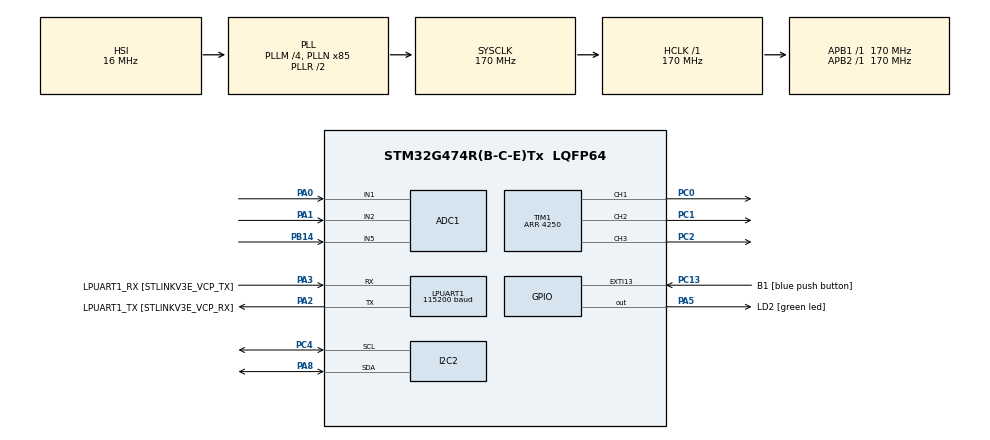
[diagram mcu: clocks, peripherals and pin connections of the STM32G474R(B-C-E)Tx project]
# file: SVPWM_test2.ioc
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ADC1.EnableInjectedConversion=ENABLE
ADC1.EnableRegularConversion=DISABLE
ADC1.ExternalTrigInjecConv=ADC_EXTERNALTRIGINJEC_T1_TRGO2
ADC1.InjNumberOfConversion=3
ADC1.InjectedChannel-10\#ChannelInjectedConversion=ADC_CHANNEL_2
ADC1.InjectedChannel-11\#ChannelInjectedConversion=ADC_CHANNEL_5
ADC1.InjectedChannel-8\#ChannelInjectedConversion=ADC_CHANNEL_1
ADC1.InjectedOffsetNumber-10\#ChannelInjectedConversion=ADC_OFFSET_NONE
ADC1.InjectedOffsetNumber-11\#ChannelInjectedConversion=ADC_OFFSET_NONE
ADC1.InjectedOffsetNumber-8\#ChannelInjectedConversion=ADC_OFFSET_NONE
ADC1.InjectedRank-10\#ChannelInjectedConversion=2
ADC1.InjectedRank-11\#ChannelInjectedConversion=3
ADC1.InjectedRank-8\#ChannelInjectedConversion=1
ADC1.InjectedSamplingTime-10\#ChannelInjectedConversion=ADC_SAMPLETIME_12CYCLES_5
ADC1.InjectedSamplingTime-11\#ChannelInjectedConversion=ADC_SAMPLETIME_12CYCLES_5
ADC1.InjectedSamplingTime-8\#ChannelInjectedConversion=ADC_SAMPLETIME_12CYCLES_5
ADC1.Rank2_Channel=ADC_CHANNEL_2
ADC1.Rank3_Channel=ADC_CHANNEL_5
ADC1.master=1
I2C2.Timing=0x30A0A7FB
LPUART1.BaudRate=115200
LPUART1.WordLength=UART_WORDLENGTH_8B
Mcu.Family=STM32G4
Mcu.Name=STM32G474R(B-C-E)Tx
Mcu.Package=LQFP64
NVIC.ADC1_2_IRQn=true\:0\:0\:false\:false\:true\:true\:true\:true
NVIC.EXTI15_10_IRQn=true\:0\:0\:false\:false\:true\:true\:true\:true
NVIC.PriorityGroup=NVIC_PRIORITYGROUP_4
PA0.Mode=IN1-Single-Ended
PA0.Signal=ADC1_IN1
PA1.Mode=IN2-Single-Ended
PA1.Signal=ADC1_IN2
PA13.GPIO_Label=T_SWDIO
PA13.Mode=Serial_Wire
PA13.Signal=SYS_JTMS-SWDIO
PA14.GPIO_Label=T_SWCLK
PA14.Mode=Serial_Wire
PA14.Signal=SYS_JTCK-SWCLK
PA2.GPIO_Label=LPUART1_TX [STLINKV3E_VCP_RX]
PA2.Mode=Asynchronous
PA2.Signal=LPUART1_TX
PA3.GPIO_Label=LPUART1_RX [STLINKV3E_VCP_TX]
PA3.Mode=Asynchronous
PA3.Signal=LPUART1_RX
PA5.GPIO_Label=LD2 [green led]
PA5.Signal=GPIO_Output
PA8.Mode=I2C
PA8.Signal=I2C2_SDA
PB14.Mode=IN5-Single-Ended
PB14.Signal=ADC1_IN5
PB3.GPIO_Label=T_SWO
PB3.Signal=SYS_JTDO-SWO
PC0.Signal=S_TIM1_CH1
PC1.Signal=S_TIM1_CH2
PC13.GPIO_Label=B1 [blue push button]
PC13.Signal=GPXTI13
PC14-OSC32_IN.Mode=LSE-External-Oscillator
PC14-OSC32_IN.Signal=RCC_OSC32_IN
PC15-OSC32_OUT.Mode=LSE-External-Oscillator
PC15-OSC32_OUT.Signal=RCC_OSC32_OUT
PC2.Signal=S_TIM1_CH3
PC4.Mode=I2C
PC4.Signal=I2C2_SCL
PF0-OSC_IN.Mode=HSE-External-Oscillator
PF0-OSC_IN.Signal=RCC_OSC_IN
PF1-OSC_OUT.Mode=HSE-External-Oscillator
PF1-OSC_OUT.Signal=RCC_OSC_OUT
ProjectManager.HeapSize=0x200
ProjectManager.StackSize=0x400
ProjectManager.TargetToolchain=STM32CubeIDE
RCC.ADC12Freq_Value=170000000
RCC.ADC345Freq_Value=170000000
RCC.AHBFreq_Value=170000000
RCC.APB1Freq_Value=170000000
RCC.APB1TimFreq_Value=170000000
RCC.APB2Freq_Value=170000000
RCC.APB2TimFreq_Value=170000000
RCC.CortexFreq_Value=170000000
RCC.EXTERNAL_CLOCK_VALUE=12288000
RCC.HCLKFreq_Value=170000000
RCC.HSE_VALUE=24000000
RCC.HSI48_VALUE=48000000
RCC.HSI_VALUE=16000000
RCC.PLLM=RCC_PLLM_DIV4
RCC.PLLN=85
RCC.RTCClockSelection=RCC_RTCCLKSOURCE_LSE
RCC.SYSCLKFreq_VALUE=170000000
RCC.SYSCLKSource=RCC_SYSCLKSOURCE_PLLCLK
RCC.USBFreq_Value=170000000
RCC.VCOOutputFreq_Value=340000000
SH.S_TIM1_CH1.0=TIM1_CH1,PWM Generation1 CH1
SH.S_TIM1_CH2.0=TIM1_CH2,PWM Generation2 CH2
SH.S_TIM1_CH3.0=TIM1_CH3,PWM Generation3 CH3
TIM1.Channel-PWM\ Generation1\ CH1=TIM_CHANNEL_1
TIM1.Channel-PWM\ Generation2\ CH2=TIM_CHANNEL_2
TIM1.Channel-PWM\ Generation3\ CH3=TIM_CHANNEL_3
TIM1.CounterMode=TIM_COUNTERMODE_CENTERALIGNED1
TIM1.OCMode_PWM-PWM\ Generation1\ CH1=TIM_OCMODE_PWM2
TIM1.OCMode_PWM-PWM\ Generation2\ CH2=TIM_OCMODE_PWM2
TIM1.OCMode_PWM-PWM\ Generation3\ CH3=TIM_OCMODE_PWM2
TIM1.PeriodNoDither=4250
TIM1.RepetitionCounter=1
TIM1.TIM_MasterOutputTrigger=TIM_TRGO_RESET
TIM1.TIM_MasterOutputTrigger2=TIM_TRGO2_UPDATE
VP_SYS_VS_DBSignals.Mode=DisableDeadBatterySignals
VP_TIM1_VS_ClockSourceINT.Mode=Internal
board=NUCLEO-G474RE

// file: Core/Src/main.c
/* USER CODE BEGIN Header */
/**
  ******************************************************************************
  * @file           : main.c
  * @brief          : Day15 - ADC同期サンプリング検証
  *                   DRV8311H 3相電流センシング（タイミング確認）
  ******************************************************************************
  */
/* USER CODE END Header */
#include "main.h"

/* USER CODE BEGIN Includes */
#include <math.h>
#include <stdio.h>
/* USER CODE END Includes */

/* USER CODE BEGIN PD */
#define ADC_REF_V      3.3f
#define ADC_RESOLUTION 4095.0f
#define CSA_GAIN_VA    1.0f     // DRV8311H GAIN Hi-Z = 1 V/A
#define PWM_PERIOD     4250.0f  // ARR値 (20kHz Center Aligned)

// -----------------------------------------------------------------------
// モータ駆動モード切替
// コメントアウト → ADC タイミング検証のみ（モータ未接続で OK）
// コメントを外す → オープンループ SVPWM 駆動（モータ接続必須）
// -----------------------------------------------------------------------
// #define ENABLE_MOTOR_DRIVE

#ifdef ENABLE_MOTOR_DRIVE
#define OPEN_LOOP_VOLTAGE 0.3f // オープンループ出力電圧振幅 [0.0~1.0]
                               // ※ FOC の Vq ではなく正弦波指令の振幅
#define ANGLE_STEP     0.02f   // 1ループあたりの角度増分 [rad]
#define LOOP_DELAY_MS  2       // ループ周期 [ms]
#else
#define LOOP_DELAY_MS  100     // タイミング検証モードの表示間隔 [ms]
#endif
/* USER CODE END PD */

ADC_HandleTypeDef hadc1;

I2C_HandleTypeDef hi2c2;

UART_HandleTypeDef hlpuart1;

TIM_HandleTypeDef htim1;

/* USER CODE BEGIN PV */
volatile float g_Iu = 0.0f, g_Iv = 0.0f, g_Iw = 0.0f;
volatile uint32_t g_debug_cnt = 0;

float offset_u = 2048.0f;
float offset_v = 2048.0f;
float offset_w = 2048.0f;

#ifdef ENABLE_MOTOR_DRIVE
float g_angle = 0.0f;
#endif
/* USER CODE END PV */

void SystemClock_Config(void);
static void MX_GPIO_Init(void);
static void MX_LPUART1_UART_Init(void);
static void MX_TIM1_Init(void);
static void MX_ADC1_Init(void);
static void MX_I2C2_Init(void);

/* USER CODE BEGIN 0 */
int _write(int file, char *ptr, int len) {
    HAL_UART_Transmit(&hlpuart1, (uint8_t *)ptr, len, 100);
    return len;
}
/* USER CODE END 0 */

int main(void)
{

  HAL_Init();

  SystemClock_Config();

  MX_GPIO_Init();
  MX_LPUART1_UART_Init();
  MX_TIM1_Init();
  MX_ADC1_Init();
  MX_I2C2_Init();

  /* USER CODE BEGIN 2 */
  printf("=== Day15: ADC Sync Sampling Verification ===\r\n");

  // PWM 50%固定で起動 (Mode2: CCR=ARR/2 で50%)
  TIM1->CCR1 = (uint32_t)(PWM_PERIOD * 0.5f);
  TIM1->CCR2 = (uint32_t)(PWM_PERIOD * 0.5f);
  TIM1->CCR3 = (uint32_t)(PWM_PERIOD * 0.5f);

  HAL_TIM_PWM_Start(&htim1, TIM_CHANNEL_1);
  HAL_TIM_PWM_Start(&htim1, TIM_CHANNEL_2);
  HAL_TIM_PWM_Start(&htim1, TIM_CHANNEL_3);

  // ADCキャリブレーション
  HAL_ADCEx_Calibration_Start(&hadc1, ADC_SINGLE_ENDED);

  // ゼロ電流オフセット計測 (1000サンプル平均)
  printf("Calibrating current offsets...\r\n");
  HAL_ADCEx_InjectedStart(&hadc1);
  long sum_u = 0, sum_v = 0, sum_w = 0;
  for (int i = 0; i < 1000; i++) {
      HAL_ADCEx_InjectedPollForConversion(&hadc1, 10);
      sum_u += HAL_ADCEx_InjectedGetValue(&hadc1, ADC_INJECTED_RANK_1);
      sum_v += HAL_ADCEx_InjectedGetValue(&hadc1, ADC_INJECTED_RANK_2);
      sum_w += HAL_ADCEx_InjectedGetValue(&hadc1, ADC_INJECTED_RANK_3);
  }
  HAL_ADCEx_InjectedStop(&hadc1);
  offset_u = (float)sum_u / 1000.0f;
  offset_v = (float)sum_v / 1000.0f;
  offset_w = (float)sum_w / 1000.0f;
  printf("Offsets: U=%.1f V=%.1f W=%.1f\r\n", offset_u, offset_v, offset_w);

  // 割り込みモードで ADC 開始 (TIM1 TRGO2 自動トリガ)
  HAL_ADCEx_InjectedStart_IT(&hadc1);
  printf("ADC started. Monitoring...\r\n");
  /* USER CODE END 2 */

  /* Infinite loop */
  /* USER CODE BEGIN WHILE */
  while (1)
  {
#ifdef ENABLE_MOTOR_DRIVE
      // --- オープンループ SVPWM 駆動 ---
      // Va/Vb/Vc を正弦波で生成し、common-mode injection（SVPWM 零相補正）を適用
      float Va = OPEN_LOOP_VOLTAGE * sinf(g_angle);
      float Vb = OPEN_LOOP_VOLTAGE * sinf(g_angle - 2.0f * (float)M_PI / 3.0f);
      float Vc = OPEN_LOOP_VOLTAGE * sinf(g_angle + 2.0f * (float)M_PI / 3.0f);

      float v_max = fmaxf(fmaxf(Va, Vb), Vc);
      float v_min = fminf(fminf(Va, Vb), Vc);
      float cm = (v_max + v_min) * 0.5f;   // common-mode 成分

      // PWM Mode 2: duty_HIGH = (ARR - CCR) / ARR なので Va 正 → CCR 小（反転）
      // CCR = (1 - (V - cm)) / 2 * ARR
      TIM1->CCR1 = (uint32_t)((1.0f - Va + cm) * 0.5f * PWM_PERIOD);
      TIM1->CCR2 = (uint32_t)((1.0f - Vb + cm) * 0.5f * PWM_PERIOD);
      TIM1->CCR3 = (uint32_t)((1.0f - Vc + cm) * 0.5f * PWM_PERIOD);

      g_angle += ANGLE_STEP;
      if (g_angle >= 2.0f * (float)M_PI) g_angle -= 2.0f * (float)M_PI;

      // CSV 出力（カウンタ付き4列）: count,Iu,Iv,Iw
      static uint32_t s_cnt = 0;
      printf("%lu,%.4f,%.4f,%.4f\r\n", s_cnt++, g_Iu, g_Iv, g_Iw);
#else
      // --- ADC タイミング検証モード（モータ未接続） ---
      printf("Iu=%6.3f Iv=%6.3f Iw=%6.3f CNT=%lu\r\n",
             g_Iu, g_Iv, g_Iw, g_debug_cnt);
#endif
      HAL_Delay(LOOP_DELAY_MS);
  }
  /* USER CODE END WHILE */

}

void SystemClock_Config(void)
{
  RCC_OscInitTypeDef RCC_OscInitStruct = {0};
  RCC_ClkInitTypeDef RCC_ClkInitStruct = {0};

  HAL_PWREx_ControlVoltageScaling(PWR_REGULATOR_VOLTAGE_SCALE1_BOOST);

  RCC_OscInitStruct.OscillatorType = RCC_OSCILLATORTYPE_HSI;
  RCC_OscInitStruct.HSIState = RCC_HSI_ON;
  RCC_OscInitStruct.HSICalibrationValue = RCC_HSICALIBRATION_DEFAULT;
  RCC_OscInitStruct.PLL.PLLState = RCC_PLL_ON;
  RCC_OscInitStruct.PLL.PLLSource = RCC_PLLSOURCE_HSI;
  RCC_OscInitStruct.PLL.PLLM = RCC_PLLM_DIV4;
  RCC_OscInitStruct.PLL.PLLN = 85;
  RCC_OscInitStruct.PLL.PLLP = RCC_PLLP_DIV2;
  RCC_OscInitStruct.PLL.PLLQ = RCC_PLLQ_DIV2;
  RCC_OscInitStruct.PLL.PLLR = RCC_PLLR_DIV2;
  if (HAL_RCC_OscConfig(&RCC_OscInitStruct) != HAL_OK)
  {
    Error_Handler();
  }

  RCC_ClkInitStruct.ClockType = RCC_CLOCKTYPE_HCLK|RCC_CLOCKTYPE_SYSCLK
                              |RCC_CLOCKTYPE_PCLK1|RCC_CLOCKTYPE_PCLK2;
  RCC_ClkInitStruct.SYSCLKSource = RCC_SYSCLKSOURCE_PLLCLK;
  RCC_ClkInitStruct.AHBCLKDivider = RCC_SYSCLK_DIV1;
  RCC_ClkInitStruct.APB1CLKDivider = RCC_HCLK_DIV1;
  RCC_ClkInitStruct.APB2CLKDivider = RCC_HCLK_DIV1;

  if (HAL_RCC_ClockConfig(&RCC_ClkInitStruct, FLASH_LATENCY_4) != HAL_OK)
  {
    Error_Handler();
  }
}

static void MX_ADC1_Init(void)
{
  ADC_MultiModeTypeDef multimode = {0};
  ADC_InjectionConfTypeDef sConfigInjected = {0};

  hadc1.Instance = ADC1;
  hadc1.Init.ClockPrescaler = ADC_CLOCK_SYNC_PCLK_DIV4;
  hadc1.Init.Resolution = ADC_RESOLUTION_12B;
  hadc1.Init.DataAlign = ADC_DATAALIGN_RIGHT;
  hadc1.Init.GainCompensation = 0;
  hadc1.Init.ScanConvMode = ADC_SCAN_ENABLE;
  hadc1.Init.EOCSelection = ADC_EOC_SINGLE_CONV;
  hadc1.Init.LowPowerAutoWait = DISABLE;
  hadc1.Init.ContinuousConvMode = DISABLE;
  hadc1.Init.NbrOfConversion = 1;
  hadc1.Init.DiscontinuousConvMode = DISABLE;
  hadc1.Init.DMAContinuousRequests = DISABLE;
  hadc1.Init.Overrun = ADC_OVR_DATA_PRESERVED;
  hadc1.Init.OversamplingMode = DISABLE;
  if (HAL_ADC_Init(&hadc1) != HAL_OK)
  {
    Error_Handler();
  }

  multimode.Mode = ADC_MODE_INDEPENDENT;
  if (HAL_ADCEx_MultiModeConfigChannel(&hadc1, &multimode) != HAL_OK)
  {
    Error_Handler();
  }

  // Rank1: CH1 (PA0 / SO_A)
  sConfigInjected.InjectedChannel = ADC_CHANNEL_1;
  sConfigInjected.InjectedRank = ADC_INJECTED_RANK_1;
  sConfigInjected.InjectedSamplingTime = ADC_SAMPLETIME_12CYCLES_5;
  sConfigInjected.InjectedSingleDiff = ADC_SINGLE_ENDED;
  sConfigInjected.InjectedOffsetNumber = ADC_OFFSET_NONE;
  sConfigInjected.InjectedOffset = 0;
  sConfigInjected.InjectedNbrOfConversion = 3;
  sConfigInjected.InjectedDiscontinuousConvMode = DISABLE;
  sConfigInjected.AutoInjectedConv = DISABLE;
  sConfigInjected.QueueInjectedContext = DISABLE;
  sConfigInjected.ExternalTrigInjecConv = ADC_EXTERNALTRIGINJEC_T1_TRGO2;
  sConfigInjected.ExternalTrigInjecConvEdge = ADC_EXTERNALTRIGINJECCONV_EDGE_RISING;
  sConfigInjected.InjecOversamplingMode = DISABLE;
  if (HAL_ADCEx_InjectedConfigChannel(&hadc1, &sConfigInjected) != HAL_OK)
  {
    Error_Handler();
  }

  // Rank2: CH2 (PA1 / SO_B)
  sConfigInjected.InjectedChannel = ADC_CHANNEL_2;
  sConfigInjected.InjectedRank = ADC_INJECTED_RANK_2;
  if (HAL_ADCEx_InjectedConfigChannel(&hadc1, &sConfigInjected) != HAL_OK)
  {
    Error_Handler();
  }

  // Rank3: CH5 (PB14 / SO_C)
  sConfigInjected.InjectedChannel = ADC_CHANNEL_5;
  sConfigInjected.InjectedRank = ADC_INJECTED_RANK_3;
  if (HAL_ADCEx_InjectedConfigChannel(&hadc1, &sConfigInjected) != HAL_OK)
  {
    Error_Handler();
  }
}

static void MX_I2C2_Init(void)
{
  hi2c2.Instance = I2C2;
  hi2c2.Init.Timing = 0x30A0A7FB;
  hi2c2.Init.OwnAddress1 = 0;
  hi2c2.Init.AddressingMode = I2C_ADDRESSINGMODE_7BIT;
  hi2c2.Init.DualAddressMode = I2C_DUALADDRESS_DISABLE;
  hi2c2.Init.OwnAddress2 = 0;
  hi2c2.Init.OwnAddress2Masks = I2C_OA2_NOMASK;
  hi2c2.Init.GeneralCallMode = I2C_GENERALCALL_DISABLE;
  hi2c2.Init.NoStretchMode = I2C_NOSTRETCH_DISABLE;
  if (HAL_I2C_Init(&hi2c2) != HAL_OK)
  {
    Error_Handler();
  }
  if (HAL_I2CEx_ConfigAnalogFilter(&hi2c2, I2C_ANALOGFILTER_ENABLE) != HAL_OK)
  {
    Error_Handler();
  }
  if (HAL_I2CEx_ConfigDigitalFilter(&hi2c2, 0) != HAL_OK)
  {
    Error_Handler();
  }
}

static void MX_LPUART1_UART_Init(void)
{
  hlpuart1.Instance = LPUART1;
  hlpuart1.Init.BaudRate = 115200;
  hlpuart1.Init.WordLength = UART_WORDLENGTH_8B;
  hlpuart1.Init.StopBits = UART_STOPBITS_1;
  hlpuart1.Init.Parity = UART_PARITY_NONE;
  hlpuart1.Init.Mode = UART_MODE_TX_RX;
  hlpuart1.Init.HwFlowCtl = UART_HWCONTROL_NONE;
  hlpuart1.Init.OneBitSampling = UART_ONE_BIT_SAMPLE_DISABLE;
  hlpuart1.Init.ClockPrescaler = UART_PRESCALER_DIV1;
  hlpuart1.AdvancedInit.AdvFeatureInit = UART_ADVFEATURE_NO_INIT;
  if (HAL_UART_Init(&hlpuart1) != HAL_OK)
  {
    Error_Handler();
  }
  if (HAL_UARTEx_SetTxFifoThreshold(&hlpuart1, UART_TXFIFO_THRESHOLD_1_8) != HAL_OK)
  {
    Error_Handler();
  }
  if (HAL_UARTEx_SetRxFifoThreshold(&hlpuart1, UART_RXFIFO_THRESHOLD_1_8) != HAL_OK)
  {
    Error_Handler();
  }
  if (HAL_UARTEx_DisableFifoMode(&hlpuart1) != HAL_OK)
  {
    Error_Handler();
  }
}

static void MX_TIM1_Init(void)
{
  TIM_ClockConfigTypeDef sClockSourceConfig = {0};
  TIM_MasterConfigTypeDef sMasterConfig = {0};
  TIM_OC_InitTypeDef sConfigOC = {0};
  TIM_BreakDeadTimeConfigTypeDef sBreakDeadTimeConfig = {0};

  htim1.Instance = TIM1;
  htim1.Init.Prescaler = 0;
  htim1.Init.CounterMode = TIM_COUNTERMODE_CENTERALIGNED1;
  htim1.Init.Period = 4250;
  htim1.Init.ClockDivision = TIM_CLOCKDIVISION_DIV1;
  htim1.Init.RepetitionCounter = 1;
  htim1.Init.AutoReloadPreload = TIM_AUTORELOAD_PRELOAD_DISABLE;
  if (HAL_TIM_Base_Init(&htim1) != HAL_OK)
  {
    Error_Handler();
  }
  sClockSourceConfig.ClockSource = TIM_CLOCKSOURCE_INTERNAL;
  if (HAL_TIM_ConfigClockSource(&htim1, &sClockSourceConfig) != HAL_OK)
  {
    Error_Handler();
  }
  if (HAL_TIM_PWM_Init(&htim1) != HAL_OK)
  {
    Error_Handler();
  }
  sMasterConfig.MasterOutputTrigger = TIM_TRGO_RESET;
  sMasterConfig.MasterOutputTrigger2 = TIM_TRGO2_UPDATE;
  sMasterConfig.MasterSlaveMode = TIM_MASTERSLAVEMODE_DISABLE;
  if (HAL_TIMEx_MasterConfigSynchronization(&htim1, &sMasterConfig) != HAL_OK)
  {
    Error_Handler();
  }
  sConfigOC.OCMode = TIM_OCMODE_PWM2;
  sConfigOC.Pulse = 0;
  sConfigOC.OCPolarity = TIM_OCPOLARITY_HIGH;
  sConfigOC.OCNPolarity = TIM_OCNPOLARITY_HIGH;
  sConfigOC.OCFastMode = TIM_OCFAST_DISABLE;
  sConfigOC.OCIdleState = TIM_OCIDLESTATE_RESET;
  sConfigOC.OCNIdleState = TIM_OCNIDLESTATE_RESET;
  if (HAL_TIM_PWM_ConfigChannel(&htim1, &sConfigOC, TIM_CHANNEL_1) != HAL_OK)
  {
    Error_Handler();
  }
  if (HAL_TIM_PWM_ConfigChannel(&htim1, &sConfigOC, TIM_CHANNEL_2) != HAL_OK)
  {
    Error_Handler();
  }
  if (HAL_TIM_PWM_ConfigChannel(&htim1, &sConfigOC, TIM_CHANNEL_3) != HAL_OK)
  {
    Error_Handler();
  }
  sBreakDeadTimeConfig.OffStateRunMode = TIM_OSSR_DISABLE;
  sBreakDeadTimeConfig.OffStateIDLEMode = TIM_OSSI_DISABLE;
  sBreakDeadTimeConfig.LockLevel = TIM_LOCKLEVEL_OFF;
  sBreakDeadTimeConfig.DeadTime = 0;
  sBreakDeadTimeConfig.BreakState = TIM_BREAK_DISABLE;
  sBreakDeadTimeConfig.BreakPolarity = TIM_BREAKPOLARITY_HIGH;
  sBreakDeadTimeConfig.BreakFilter = 0;
  sBreakDeadTimeConfig.BreakAFMode = TIM_BREAK_AFMODE_INPUT;
  sBreakDeadTimeConfig.Break2State = TIM_BREAK2_DISABLE;
  sBreakDeadTimeConfig.Break2Polarity = TIM_BREAK2POLARITY_HIGH;
  sBreakDeadTimeConfig.Break2Filter = 0;
  sBreakDeadTimeConfig.Break2AFMode = TIM_BREAK_AFMODE_INPUT;
  sBreakDeadTimeConfig.AutomaticOutput = TIM_AUTOMATICOUTPUT_DISABLE;
  if (HAL_TIMEx_ConfigBreakDeadTime(&htim1, &sBreakDeadTimeConfig) != HAL_OK)
  {
    Error_Handler();
  }
  HAL_TIM_MspPostInit(&htim1);
}

static void MX_GPIO_Init(void)
{
  GPIO_InitTypeDef GPIO_InitStruct = {0};

  __HAL_RCC_GPIOC_CLK_ENABLE();
  __HAL_RCC_GPIOF_CLK_ENABLE();
  __HAL_RCC_GPIOA_CLK_ENABLE();
  __HAL_RCC_GPIOB_CLK_ENABLE();

  HAL_GPIO_WritePin(LD2_GPIO_Port, LD2_Pin, GPIO_PIN_RESET);

  GPIO_InitStruct.Pin = B1_Pin;
  GPIO_InitStruct.Mode = GPIO_MODE_IT_RISING;
  GPIO_InitStruct.Pull = GPIO_NOPULL;
  HAL_GPIO_Init(B1_GPIO_Port, &GPIO_InitStruct);

  GPIO_InitStruct.Pin = LD2_Pin;
  GPIO_InitStruct.Mode = GPIO_MODE_OUTPUT_PP;
  GPIO_InitStruct.Pull = GPIO_NOPULL;
  GPIO_InitStruct.Speed = GPIO_SPEED_FREQ_LOW;
  HAL_GPIO_Init(LD2_GPIO_Port, &GPIO_InitStruct);

  HAL_NVIC_SetPriority(EXTI15_10_IRQn, 0, 0);
  HAL_NVIC_EnableIRQ(EXTI15_10_IRQn);
}

/* USER CODE BEGIN 4 */
void HAL_ADCEx_InjectedConvCpltCallback(ADC_HandleTypeDef *hadc)
{
    if (hadc->Instance != ADC1) return;

    // タイミング検証: 谷底(CNT=0)でトリガされていれば小さい値になる
    g_debug_cnt = TIM1->CNT;

    // 生ADC値取得
    uint32_t raw_u = HAL_ADCEx_InjectedGetValue(&hadc1, ADC_INJECTED_RANK_1);
    uint32_t raw_v = HAL_ADCEx_InjectedGetValue(&hadc1, ADC_INJECTED_RANK_2);
    uint32_t raw_w = HAL_ADCEx_InjectedGetValue(&hadc1, ADC_INJECTED_RANK_3);

    // ADCカウント→電圧→電流[A]
    // I = (V_SO - V_offset) / CSA_GAIN_VA
    // オフセットはキャリブレーション値(ADCカウント)で補正
    g_Iu = ((float)raw_u - offset_u) * (ADC_REF_V / ADC_RESOLUTION) / CSA_GAIN_VA;
    g_Iv = ((float)raw_v - offset_v) * (ADC_REF_V / ADC_RESOLUTION) / CSA_GAIN_VA;
    g_Iw = ((float)raw_w - offset_w) * (ADC_REF_V / ADC_RESOLUTION) / CSA_GAIN_VA;

    // LD2 LED トグル (オシロでトリガタイミング確認用)
    HAL_GPIO_TogglePin(LD2_GPIO_Port, LD2_Pin);
}
/* USER CODE END 4 */

void Error_Handler(void)
{
  __disable_irq();
  while (1)
  {
  }
}
